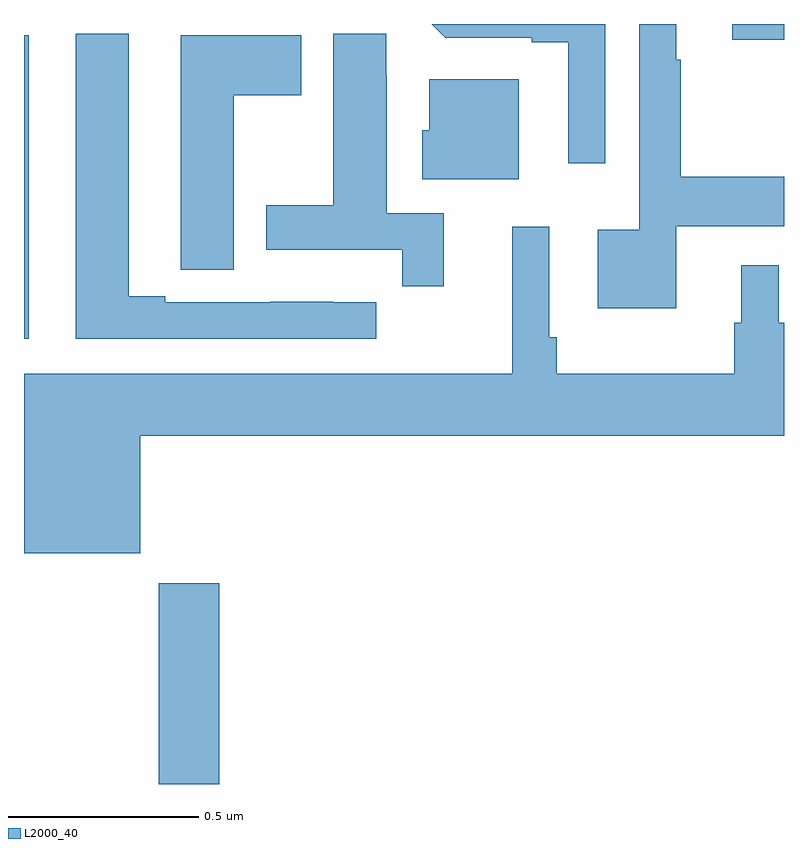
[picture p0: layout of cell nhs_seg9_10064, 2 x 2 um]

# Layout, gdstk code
import gdstk
lib = gdstk.Library(unit=1e-6, precision=1e-09)
def R(c, l, rs):  # rectangles x0, y0, x1, y1
    for r in rs: c.add(gdstk.rectangle(r[:2], r[2:], *l))
def P(c, l, *ps):  # polygons
    for p in ps: c.add(gdstk.Polygon(p, *l))
L2000_40 = (2000, 40)

nhs_seg9_10064 = lib.new_cell('nhs_seg9_10064')
R(nhs_seg9_10064, L2000_40, [(238.354,1199.5,238.514,1200.028), (238,1200.672,238.012,1201.47), (239.864,1201.458,240,1201.5)])
P(nhs_seg9_10064, L2000_40, [(239.529,1201.5),(239.073,1201.5),(239.109,1201.464),(239.336,1201.464),(239.336,1201.452),(239.432,1201.452),(239.432,1201.134),(239.529,1201.134)],
  [(239.716,1200.968),(240,1200.968),(240,1201.098),(239.728,1201.098),(239.728,1201.406),(239.716,1201.406),(239.716,1201.5),(239.619,1201.5),(239.619,1200.958),(239.51,1200.958),(239.51,1200.752),(239.716,1200.752)],
  [(239.105,1201.002),(238.954,1201.002),(238.954,1201.364),(238.953,1201.364),(238.953,1201.475),(238.814,1201.475),(238.814,1201.023),(238.637,1201.023),(238.637,1200.906),(238.996,1200.906),(238.996,1200.81),(239.105,1200.81)],
  [(238.927,1200.768),(238.814,1200.768),(238.814,1200.769),(238.648,1200.769),(238.648,1200.768),(238.372,1200.768),(238.372,1200.783),(238.276,1200.783),(238.276,1201.475),(238.136,1201.475),(238.136,1200.672),(238.927,1200.672)],
  [(238.552,1201.312),(238.729,1201.312),(238.729,1201.471),(238.412,1201.471),(238.412,1200.961),(238.413,1200.961),(238.413,1200.853),(238.552,1200.853)],
  [(239.302,1201.354),(239.066,1201.354),(239.066,1201.221),(239.048,1201.221),(239.048,1201.091),(239.302,1201.091)],
  [(238.306,1200.416),(240,1200.416),(240,1200.714),(239.986,1200.714),(239.986,1200.865),(239.888,1200.865),(239.888,1200.714),(239.869,1200.714),(239.869,1200.58),(239.402,1200.58),(239.402,1200.676),(239.382,1200.676),(239.382,1200.967),(239.285,1200.967),(239.285,1200.58),(238,1200.58),(238,1200.107),(238.306,1200.107)])

lib.write_gds('nhs_seg9_10064.gds')
